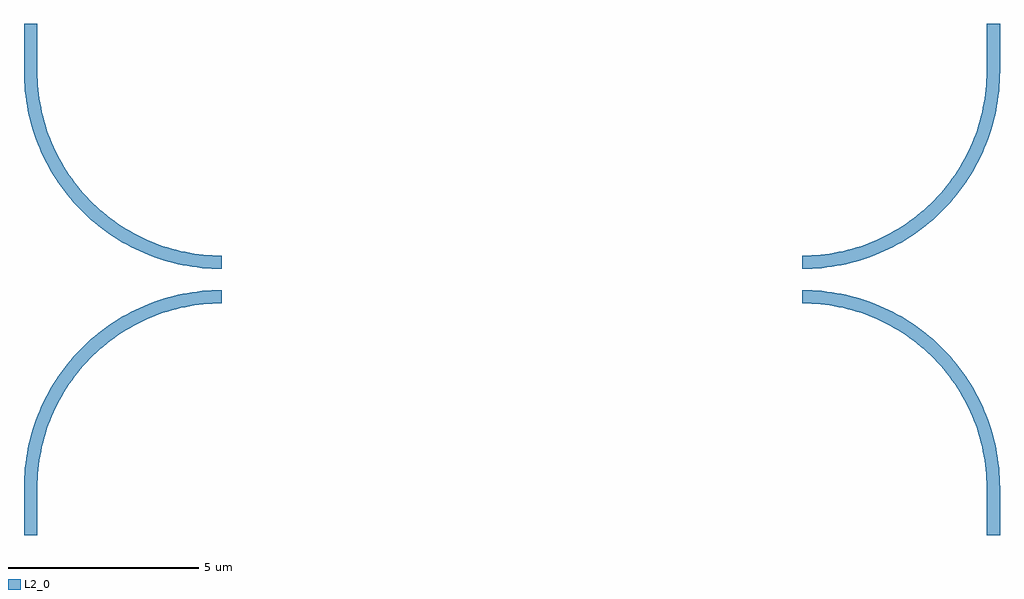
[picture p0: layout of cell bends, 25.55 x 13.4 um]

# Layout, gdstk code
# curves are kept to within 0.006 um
import gdstk
lib = gdstk.Library(unit=1e-6, precision=1e-09)
def R(c, l, rs):  # rectangles x0, y0, x1, y1
    for r in rs: c.add(gdstk.rectangle(r[:2], r[2:], *l))
def P(c, l, *ps):  # polygons
    for p in ps: c.add(gdstk.Polygon(p, *l))
L2_0 = (2, 0)

bends = lib.new_cell('bends')
R(bends, L2_0, [(-12.775,-6.7,-12.425,-5.45), (12.425,-6.7,12.775,-5.45), (-12.775,5.45,-12.425,6.7), (12.425,5.45,12.775,6.7)])
P(bends, L2_0, [(7.6,0.275),(7.6,0.625),(7.841,0.631),(8.08,0.649),(8.319,0.679),(8.556,0.721),(8.791,0.774),(9.022,0.839),(9.474,1.004),(9.908,1.213),(10.318,1.463),(10.701,1.754),(10.969,1.996),(11.137,2.168),(11.296,2.349),(11.587,2.732),(11.837,3.142),(12.046,3.576),(12.211,4.028),(12.276,4.259),(12.329,4.494),(12.371,4.731),(12.401,4.97),(12.419,5.209),(12.425,5.45),(12.775,5.45),(12.769,5.192),(12.749,4.935),(12.717,4.679),(12.672,4.425),(12.615,4.173),(12.545,3.925),(12.463,3.68),(12.369,3.44),(12.263,3.205),(12.145,2.975),(12.016,2.752),(11.876,2.535),(11.646,2.223),(11.48,2.026),(11.305,1.837),(11.12,1.656),(10.926,1.486),(10.725,1.325),(10.515,1.174),(10.298,1.034),(10.075,0.905),(9.845,0.787),(9.61,0.681),(9.37,0.587),(9.125,0.505),(8.877,0.435),(8.625,0.378),(8.371,0.333),(8.115,0.301),(7.858,0.281)],
  [(12.425,-5.45),(12.412,-5.089),(12.388,-4.85),(12.352,-4.612),(12.245,-4.143),(12.174,-3.913),(12.091,-3.687),(11.894,-3.249),(11.779,-3.038),(11.653,-2.832),(11.446,-2.537),(11.137,-2.168),(10.793,-1.832),(10.417,-1.532),(10.013,-1.271),(9.801,-1.156),(9.474,-1.004),(9.022,-0.839),(8.791,-0.774),(8.556,-0.721),(8.319,-0.679),(8.08,-0.649),(7.841,-0.631),(7.6,-0.625),(7.6,-0.275),(7.858,-0.281),(8.115,-0.301),(8.371,-0.333),(8.625,-0.378),(8.877,-0.435),(9.125,-0.505),(9.37,-0.587),(9.61,-0.681),(9.845,-0.787),(10.188,-0.968),(10.408,-1.103),(10.621,-1.248),(10.827,-1.404),(11.024,-1.57),(11.213,-1.745),(11.394,-1.93),(11.646,-2.223),(11.802,-2.429),(11.947,-2.642),(12.145,-2.975),(12.263,-3.205),(12.369,-3.44),(12.506,-3.802),(12.582,-4.048),(12.672,-4.425),(12.735,-4.807),(12.761,-5.063),(12.775,-5.45)],
  [(-7.6,0.275),(-7.858,0.281),(-8.115,0.301),(-8.371,0.333),(-8.625,0.378),(-8.877,0.435),(-9.125,0.505),(-9.37,0.587),(-9.61,0.681),(-9.845,0.787),(-10.075,0.905),(-10.298,1.034),(-10.515,1.174),(-10.827,1.404),(-11.024,1.57),(-11.213,1.745),(-11.394,1.93),(-11.564,2.124),(-11.725,2.325),(-11.876,2.535),(-12.016,2.752),(-12.145,2.975),(-12.263,3.205),(-12.369,3.44),(-12.463,3.68),(-12.545,3.925),(-12.615,4.173),(-12.672,4.425),(-12.717,4.679),(-12.749,4.935),(-12.769,5.192),(-12.775,5.45),(-12.425,5.45),(-12.419,5.209),(-12.401,4.97),(-12.371,4.731),(-12.329,4.494),(-12.276,4.259),(-12.211,4.028),(-12.046,3.576),(-11.837,3.142),(-11.587,2.732),(-11.296,2.349),(-11.054,2.081),(-10.882,1.913),(-10.701,1.754),(-10.318,1.463),(-9.908,1.213),(-9.474,1.004),(-9.022,0.839),(-8.791,0.774),(-8.556,0.721),(-8.319,0.679),(-8.08,0.649),(-7.841,0.631),(-7.6,0.625)],
  [(-12.775,-5.45),(-12.769,-5.192),(-12.749,-4.935),(-12.717,-4.679),(-12.672,-4.425),(-12.615,-4.173),(-12.545,-3.925),(-12.463,-3.68),(-12.369,-3.44),(-12.263,-3.205),(-12.145,-2.975),(-12.016,-2.752),(-11.876,-2.535),(-11.646,-2.223),(-11.48,-2.026),(-11.305,-1.837),(-11.12,-1.656),(-10.926,-1.486),(-10.725,-1.325),(-10.515,-1.174),(-10.298,-1.034),(-10.075,-0.905),(-9.845,-0.787),(-9.61,-0.681),(-9.37,-0.587),(-9.125,-0.505),(-8.877,-0.435),(-8.625,-0.378),(-8.371,-0.333),(-8.115,-0.301),(-7.858,-0.281),(-7.6,-0.275),(-7.6,-0.625),(-7.841,-0.631),(-8.08,-0.649),(-8.319,-0.679),(-8.556,-0.721),(-8.791,-0.774),(-9.022,-0.839),(-9.474,-1.004),(-9.908,-1.213),(-10.318,-1.463),(-10.701,-1.754),(-10.969,-1.996),(-11.137,-2.168),(-11.296,-2.349),(-11.587,-2.732),(-11.837,-3.142),(-12.046,-3.576),(-12.211,-4.028),(-12.276,-4.259),(-12.329,-4.494),(-12.371,-4.731),(-12.401,-4.97),(-12.419,-5.209),(-12.425,-5.45)])

lib.write_gds('bends.gds')
